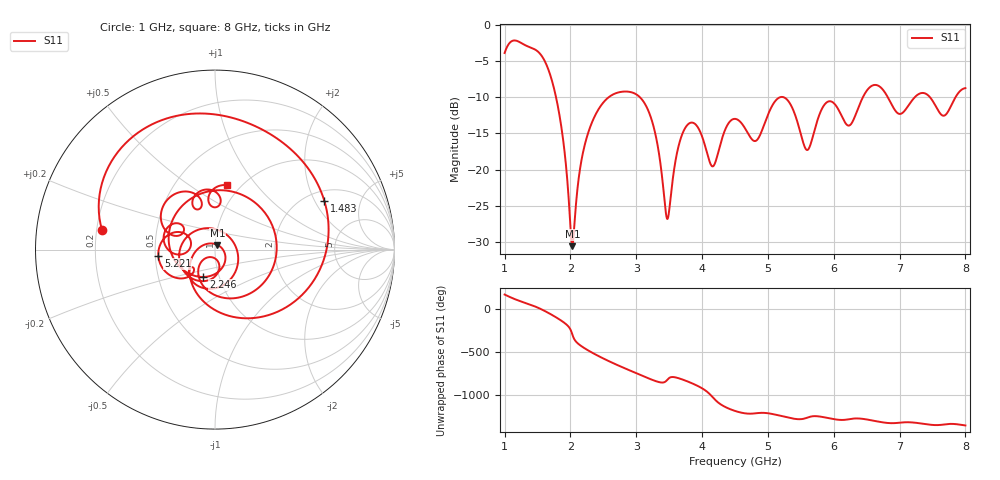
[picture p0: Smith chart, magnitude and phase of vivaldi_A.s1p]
! TOUCHSTONE file generated by CST MICROWAVE STUDIO
! Date and time: Wed Nov 11 15:29:22 2026
! Project name: vivaldi_A.cst
! Header version: 2024
! Port assignment regex: !\s*Touchstone port\s*([0-9]+)\s*=\s*(CST MWS port|CST DES external port|CST DES block port)\s*(.+)\s* \(\"(.*)\"\)(\s*mode\s*([0-9]+))?.*
! Touchstone port assignment:
! Touchstone port 1 = CST MWS port 1 ("")
# GHz S MA R 50
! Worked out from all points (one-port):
!   1001 points, 1 GHz to 8 GHz, reference 50 ohm
!   lowest |S11| = -30.6 dB at 2.029 GHz (marker M1), VSWR 1.06, Z = 51.3 + j2.7 ohm
!   |S11| at or under -10 dB: 1.781 GHz to 2.581 GHz (800.2 MHz wide, 36.7 % of centre); 3.056 GHz to 5.185 GHz (2.129 GHz wide, 51.7 % of centre); 5.238 GHz to 6.443 GHz (1.205 GHz wide, 20.6 % of centre)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
!   S11 on the Smith chart (normalised r, x): 1 GHz: 0.22, +0.08; 1.483 GHz: 2.46, +2.40; 2.246 GHz: 0.84, -0.26; 5.221 GHz: 0.52, -0.04; 8 GHz: 0.87, +0.72
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1  0.6397 170.0
1.217  0.7657 98.1
1.483  0.6669 24.0
1.686  0.4614 -53.7
1.875  0.1792 -142.6
2.029  0.02949 63.0
2.246  0.1655 -112.9
2.477  0.2822 150.9
2.75  0.3432 52.9
2.918  0.343 -2.7
3.1  0.2994 -62.5
3.289  0.177 -120.6
3.471  0.04543 -107.4
3.625  0.1342 -84.3
3.849  0.2111 -148.5
4.087  0.1244 106.3
4.269  0.1446 -27.0
4.5  0.2241 -111.0
4.815  0.1577 -138.6
5.221  0.3176 -173.6
5.375  0.264 160.4
5.592  0.1365 168.9
5.907  0.2941 166.9
6.25  0.2033 154.4
6.6  0.383 135.4
7.125  0.273 116.9
7.678  0.2358 91.2
8  0.3656 79.2
